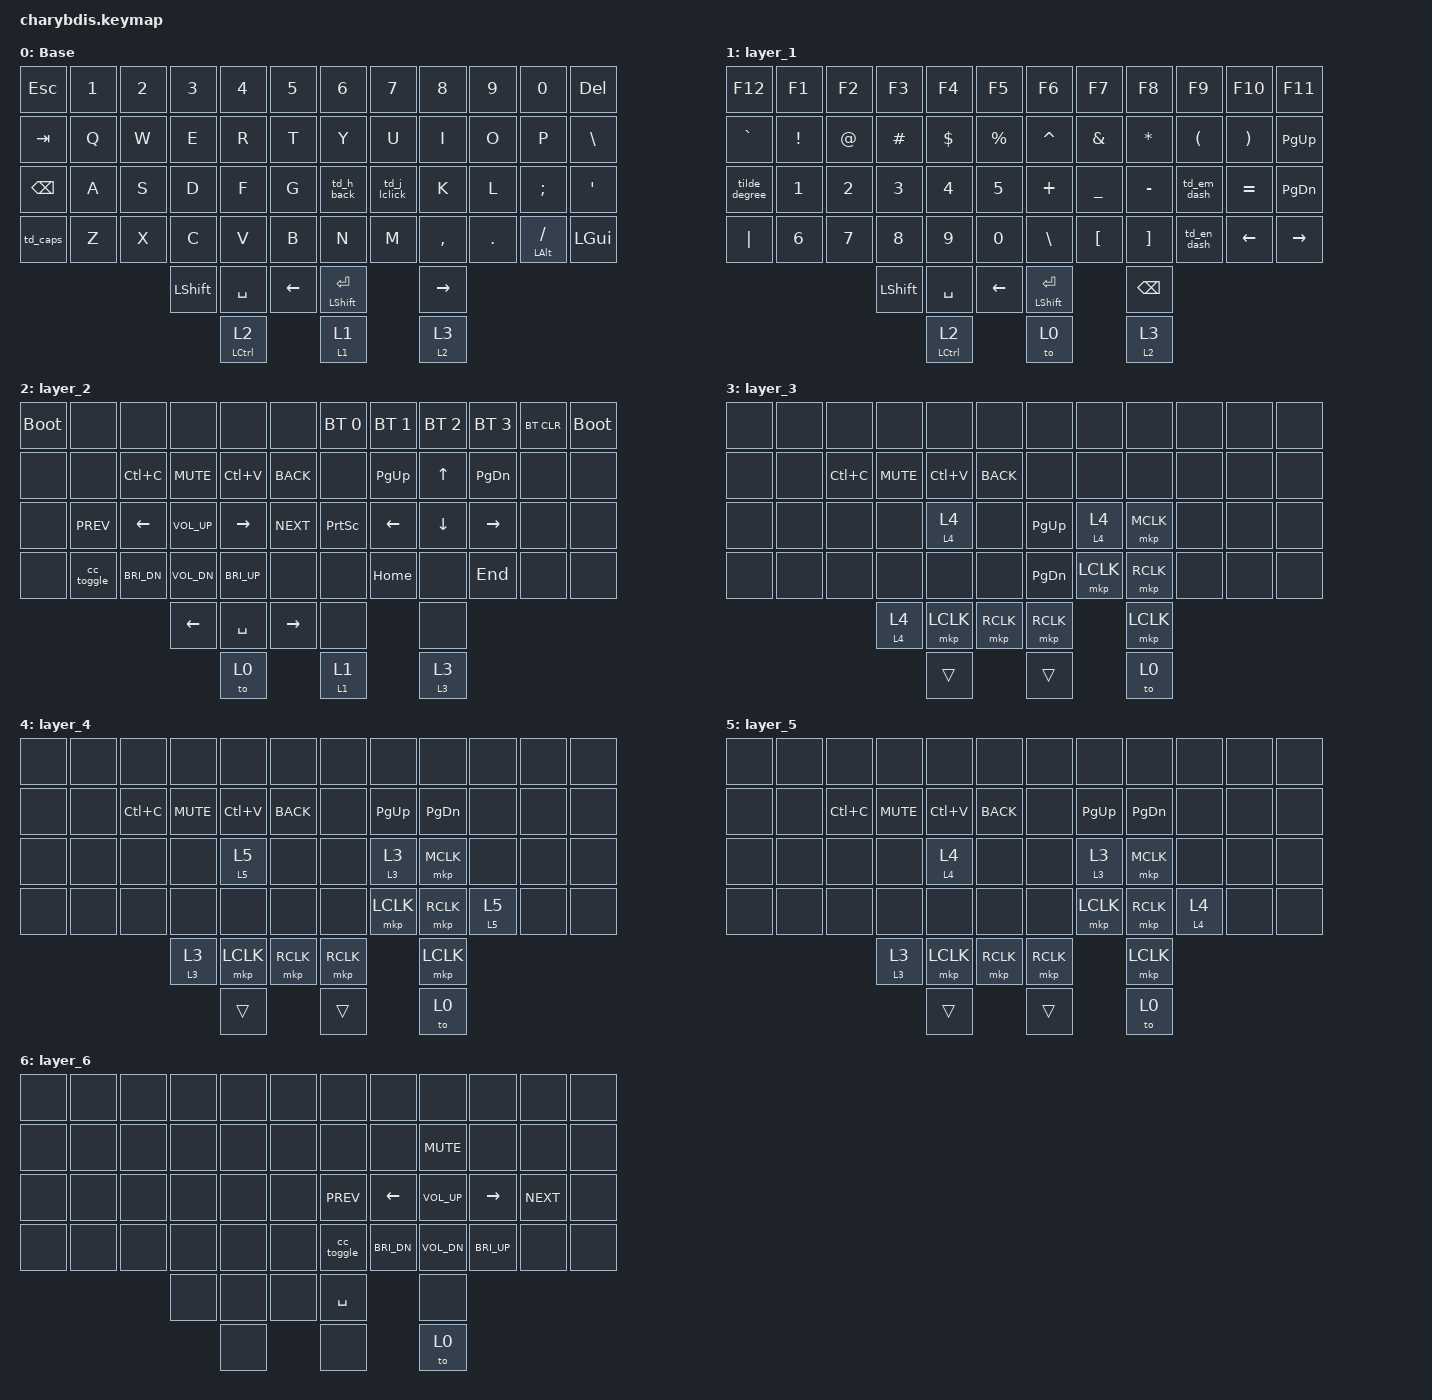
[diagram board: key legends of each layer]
#include <behaviors.dtsi>
#include <dt-bindings/zmk/bt.h>
#include <dt-bindings/zmk/keys.h>
#include <dt-bindings/zmk/mouse.h>

&lt {
    tapping-term-ms = <200>;
    flavor = "balanced";
    quick-tap-ms = <150>;
};

/ {
    combos {
        compatible = "zmk,combos";

        // Shift + Delete = Toggle Layer 6 (Media Remote)
        layer6_toggle {
            bindings = <&to 6>;
            key-positions = <24 47>;  // Left Shift (24) + Delete (47)
            layers = <0>;
        };
    };

    macros {
        // Em Dash — (ALT+0151 on Windows)
        em_dash_win: em_dash_windows {
            compatible = "zmk,behavior-macro";
            label = "EM_DASH_WIN";
            #binding-cells = <0>;
            bindings = <&macro_press &kp LALT>,
                       <&macro_tap &kp KP_N0 &kp KP_N1 &kp KP_N5 &kp KP_N1>,
                       <&macro_release &kp LALT>;
        };

        // Em Dash — (Option+Shift+Minus on Mac)
        em_dash_mac: em_dash_mac {
            compatible = "zmk,behavior-macro";
            label = "EM_DASH_MAC";
            #binding-cells = <0>;
            bindings = <&macro_press &kp LALT &kp LSHFT>,
                       <&macro_tap &kp MINUS>,
                       <&macro_release &kp LALT &kp LSHFT>;
        };

        // En Dash – (ALT+0150 on Windows)
        en_dash_win: en_dash_windows {
            compatible = "zmk,behavior-macro";
            label = "EN_DASH_WIN";
            #binding-cells = <0>;
            bindings = <&macro_press &kp LALT>,
                       <&macro_tap &kp KP_N0 &kp KP_N1 &kp KP_N5 &kp KP_N0>,
                       <&macro_release &kp LALT>;
        };

        // En Dash – (Option+Minus on Mac)
        en_dash_mac: en_dash_mac {
            compatible = "zmk,behavior-macro";
            label = "EN_DASH_MAC";
            #binding-cells = <0>;
            bindings = <&macro_press &kp LALT>,
                       <&macro_tap &kp MINUS>,
                       <&macro_release &kp LALT>;
        };

        // Degree Symbol ° (using Unicode input for Windows: ALT+0176)
        degree: degree_symbol {
            compatible = "zmk,behavior-macro";
            label = "DEGREE";
            #binding-cells = <0>;
            bindings = <&macro_press &kp LALT>,
                       <&macro_tap &kp KP_N0 &kp KP_N1 &kp KP_N7 &kp KP_N6>,
                       <&macro_release &kp LALT>;
        };

        // Captions Toggle (YouTube standard: C key)
        cc_toggle: captions_toggle {
            compatible = "zmk,behavior-macro";
            label = "CC_TOGGLE";
            #binding-cells = <0>;
            bindings = <&macro_tap &kp C>;
        };
    };

    behaviors {
        // Tap-dance for Em Dash: tap=Windows, triple-tap=Mac
        td_em_dash: tap_dance_em_dash {
            compatible = "zmk,behavior-tap-dance";
            label = "TD_EM_DASH";
            #binding-cells = <0>;
            tapping-term-ms = <200>;
            bindings = <&em_dash_win>, <&em_dash_win>, <&em_dash_mac>;
        };

        // Tap-dance for En Dash: tap=Windows, triple-tap=Mac
        td_en_dash: tap_dance_en_dash {
            compatible = "zmk,behavior-tap-dance";
            label = "TD_EN_DASH";
            #binding-cells = <0>;
            tapping-term-ms = <200>;
            bindings = <&en_dash_win>, <&en_dash_win>, <&en_dash_mac>;
        };

        // Mod-morph for tilde/degree: tap=tilde, shift=degree symbol
        tilde_degree: tilde_degree_morph {
            compatible = "zmk,behavior-mod-morph";
            label = "TILDE_DEGREE";
            #binding-cells = <0>;
            bindings = <&kp TILDE>, <&degree>;
            mods = <(MOD_LSFT|MOD_RSFT)>;
        };

        // Caps Lock tap-dance: 1 tap=cancel caps word, 2 taps=caps word, 3 taps=caps lock
        td_caps: tap_dance_caps {
            compatible = "zmk,behavior-tap-dance";
            label = "TD_CAPS";
            #binding-cells = <0>;
            tapping-term-ms = <200>;
            bindings = <&caps_word>, <&caps_word>, <&kp CAPS>;
        };

        // H key tap-dance (Layer 0 only): 3 taps = Browser Back
        td_h_back: tap_dance_h_browser_back {
            compatible = "zmk,behavior-tap-dance";
            label = "TD_H_BACK";
            #binding-cells = <0>;
            tapping-term-ms = <200>;
            bindings = <&kp H>, <&kp H>, <&kp K_BACK>;
        };

        // J key tap-dance (Layer 0 only): 3 taps = Left Click
        td_j_lclick: tap_dance_j_left_click {
            compatible = "zmk,behavior-tap-dance";
            label = "TD_J_LCLICK";
            #binding-cells = <0>;
            tapping-term-ms = <200>;
            bindings = <&kp J>, <&kp J>, <&mkp LCLK>;
        };

        // Slash/Alt: tap=slash, hold=alt
        slash_alt: slash_alt_hold {
            compatible = "zmk,behavior-hold-tap";
            label = "SLASH_ALT";
            #binding-cells = <2>;
            flavor = "tap-preferred";
            tapping-term-ms = <200>;
            quick-tap-ms = <150>;
            bindings = <&kp>, <&kp>;
        };

        // Layer 1: tap=toggle L1, hold=momentary L1
        lt1_custom: layer_tap_1_custom {
            compatible = "zmk,behavior-hold-tap";
            label = "LT1_CUSTOM";
            #binding-cells = <2>;
            flavor = "tap-preferred";
            tapping-term-ms = <200>;
            quick-tap-ms = <150>;
            bindings = <&mo>, <&to>;
        };

        // Layer 2: tap=toggle L2, hold=Ctrl
        lt2_ctrl: layer_tap_2_ctrl {
            compatible = "zmk,behavior-hold-tap";
            label = "LT2_CTRL";
            #binding-cells = <2>;
            flavor = "tap-preferred";
            tapping-term-ms = <200>;
            quick-tap-ms = <150>;
            bindings = <&kp>, <&to>;
        };

        // Layer 3 from Base: tap=toggle L3, hold=momentary L2
        lt3_mo2: layer_tap_3_momentary_2 {
            compatible = "zmk,behavior-hold-tap";
            label = "LT3_MO2";
            #binding-cells = <2>;
            flavor = "tap-preferred";
            tapping-term-ms = <200>;
            quick-tap-ms = <150>;
            bindings = <&mo>, <&to>;
        };

        // Layer 3 access (standard): tap=toggle L3, hold=momentary L3
        lt3_custom: layer_tap_3_custom {
            compatible = "zmk,behavior-hold-tap";
            label = "LT3_CUSTOM";
            #binding-cells = <2>;
            flavor = "tap-preferred";
            tapping-term-ms = <200>;
            quick-tap-ms = <150>;
            bindings = <&mo>, <&to>;
        };

        // Layer 4 access: tap=toggle L4, hold=momentary L4
        lt4_custom: layer_tap_4_custom {
            compatible = "zmk,behavior-hold-tap";
            label = "LT4_CUSTOM";
            #binding-cells = <2>;
            flavor = "tap-preferred";
            tapping-term-ms = <200>;
            quick-tap-ms = <150>;
            bindings = <&mo>, <&to>;
        };

        // Layer 5 access: tap=toggle L5, hold=momentary L5
        lt5_custom: layer_tap_5_custom {
            compatible = "zmk,behavior-hold-tap";
            label = "LT5_CUSTOM";
            #binding-cells = <2>;
            flavor = "tap-preferred";
            tapping-term-ms = <200>;
            quick-tap-ms = <150>;
            bindings = <&mo>, <&to>;
        };

        // Enter/Shift on right thumb: tap=Enter, hold=Shift
        enter_shift: enter_shift {
            compatible = "zmk,behavior-hold-tap";
            label = "ENTER_SHIFT";
            #binding-cells = <2>;
            flavor = "tap-preferred";
            tapping-term-ms = <200>;
            quick-tap-ms = <150>;
            bindings = <&kp>, <&kp>;
        };
    };

    keymap {
        compatible = "zmk,keymap";

        // LAYER 0 - BASE (QWERTY)
        Base {
            bindings = <
&kp ESC     &kp N1  &kp N2  &kp N3     &kp N4     &kp N5         &kp N6     &kp N7            &kp N8     &kp N9   &kp N0               &kp DEL
&kp TAB     &kp Q   &kp W   &kp E      &kp R      &kp T          &kp Y      &kp U             &kp I      &kp O    &kp P                &kp BSLH
&kp BSPC    &kp A   &kp S   &kp D      &kp F      &kp G          &td_h_back &td_j_lclick      &kp K      &kp L    &kp SEMI             &kp APOS
&td_caps    &kp Z   &kp X   &kp C      &kp V      &kp B          &kp N      &kp M             &kp COMMA  &kp DOT  &slash_alt LALT FSLH &kp LGUI
                            &kp LSHFT  &kp SPACE  &kp LEFT       &enter_shift LSHFT ENTER     &kp RIGHT
                                       &lt2_ctrl LCTRL 2         &lt1_custom 1 1              &lt3_mo2 2 3
            >;

            trackball-bindings = <&tmv_coarse>;
        };

        // LAYER 1 - NUMBERS / SYMBOLS / FUNCTION KEYS
        layer_1 {
            bindings = <
&kp F12          &kp F1     &kp F2     &kp F3     &kp F4     &kp F5       &kp F6     &kp F7         &kp F8          &kp F9         &kp F10    &kp F11
&kp GRAVE        &kp EXCL   &kp AT     &kp HASH   &kp DLLR   &kp PRCNT    &kp CARET  &kp AMPS       &kp STAR        &kp LPAR       &kp RPAR   &kp PG_UP
&tilde_degree    &kp N1     &kp N2     &kp N3     &kp N4     &kp N5       &kp PLUS   &kp UNDER      &kp MINUS       &td_em_dash    &kp EQUAL  &kp PG_DN
&kp PIPE         &kp N6     &kp N7     &kp N8     &kp N9     &kp N0       &kp BSLH   &kp LBKT       &kp RBKT        &td_en_dash    &kp LEFT   &kp RIGHT
                                       &kp LSHFT  &kp SPACE  &kp LEFT     &enter_shift LSHFT ENTER  &kp BSPC
                                                  &lt2_ctrl LCTRL 2  &to 0                    &lt3_mo2 2 3
            >;
        };

        // LAYER 2 - MEDIA / NAVIGATION / BLUETOOTH
        layer_2 {
            bindings = <
&bootloader      &none      &none        &none            &none            &none        &bt BT_SEL 0  &bt BT_SEL 1  &bt BT_SEL 2  &bt BT_SEL 3  &bt BT_CLR  &bootloader
&none      &none      &kp LC(C)    &kp C_MUTE       &kp LC(V)        &kp K_BACK   &none         &kp PG_UP     &kp UP        &kp PG_DN     &none       &none
&none      &kp C_PREV &kp LEFT     &kp C_VOL_UP     &kp RIGHT        &kp C_NEXT   &kp PSCRN     &kp LEFT      &kp DOWN      &kp RIGHT     &none       &none
&none      &cc_toggle &kp C_BRI_DN &kp C_VOL_DN     &kp C_BRI_UP     &none        &none         &kp HOME      &none         &kp END       &none       &none
                                   &kp LEFT         &kp SPACE        &kp RIGHT    &none         &none
                                                    &to 0           &lt1_custom 1 1              &lt3_custom 3 3
            >;
        };

        // LAYER 3 - SCROLL MOUSE
        layer_3 {
            bindings = <
&none  &none  &none        &none        &none        &none        &none      &none           &none      &none  &none  &none
&none  &none  &kp LC(C)    &kp C_MUTE   &kp LC(V)    &kp K_BACK   &none      &none           &none      &none  &none  &none
&none  &none  &none        &none        &lt4_custom 4 4  &none        &kp PG_UP  &lt4_custom 4 4     &mkp MCLK  &none  &none  &none
&none  &none  &none        &none        &none        &none        &kp PG_DN  &mkp LCLK       &mkp RCLK  &none  &none  &none
                         &lt4_custom 4 4  &mkp LCLK  &mkp RCLK    &mkp RCLK  &mkp LCLK
                                    &trans     &trans                &to 0
            >;

            trackball-bindings = <&tsl>;
        };

        // LAYER 4 - COARSE/REGULAR MOUSE
        layer_4 {
            bindings = <
&none  &none  &none        &none        &none           &none      &none      &none           &none      &none            &none  &none
&none  &none  &kp LC(C)    &kp C_MUTE   &kp LC(V)       &kp K_BACK &none      &kp PG_UP       &kp PG_DN  &none            &none  &none
&none  &none  &none        &none        &lt5_custom 5 5     &none      &none      &lt3_custom 3 3     &mkp MCLK  &none            &none  &none
&none  &none  &none        &none        &none           &none      &none      &mkp LCLK       &mkp RCLK  &lt5_custom 5 5      &none  &none
                         &lt3_custom 3 3  &mkp LCLK  &mkp RCLK    &mkp RCLK  &mkp LCLK
                                    &trans     &trans                &to 0
            >;

            trackball-bindings = <&tmv_coarse>;
        };

        // LAYER 5 - PRECISION MOUSE
        layer_5 {
            bindings = <
&none  &none  &none        &none        &none           &none      &none      &none           &none      &none            &none  &none
&none  &none  &kp LC(C)    &kp C_MUTE   &kp LC(V)       &kp K_BACK &none      &kp PG_UP       &kp PG_DN  &none            &none  &none
&none  &none  &none        &none        &lt4_custom 4 4     &none      &none      &lt3_custom 3 3     &mkp MCLK  &none            &none  &none
&none  &none  &none        &none        &none           &none      &none      &mkp LCLK       &mkp RCLK  &lt4_custom 4 4      &none  &none
                         &lt3_custom 3 3  &mkp LCLK  &mkp RCLK    &mkp RCLK  &mkp LCLK
                                    &trans     &trans                &to 0
            >;

            trackball-bindings = <&tmv_fine>;
        };

        // LAYER 6 - MEDIA REMOTE (RIGHT-HAND ONLY)
        layer_6 {
            bindings = <
&none  &none  &none        &none        &none        &none        &none      &none        &none         &none         &none      &none
&none  &none  &none        &none        &none        &none        &none      &none        &kp C_MUTE    &none         &none      &none
&none  &none  &none        &none        &none        &none        &kp C_PREV &kp LEFT     &kp C_VOL_UP  &kp RIGHT     &kp C_NEXT &none
&none  &none  &none        &none        &none        &none        &cc_toggle &kp C_BRI_DN &kp C_VOL_DN  &kp C_BRI_UP  &none      &none
                           &none        &none        &none        &kp SPACE  &none
                                        &none        &none                &to 0
            >;
        };
    };
};
